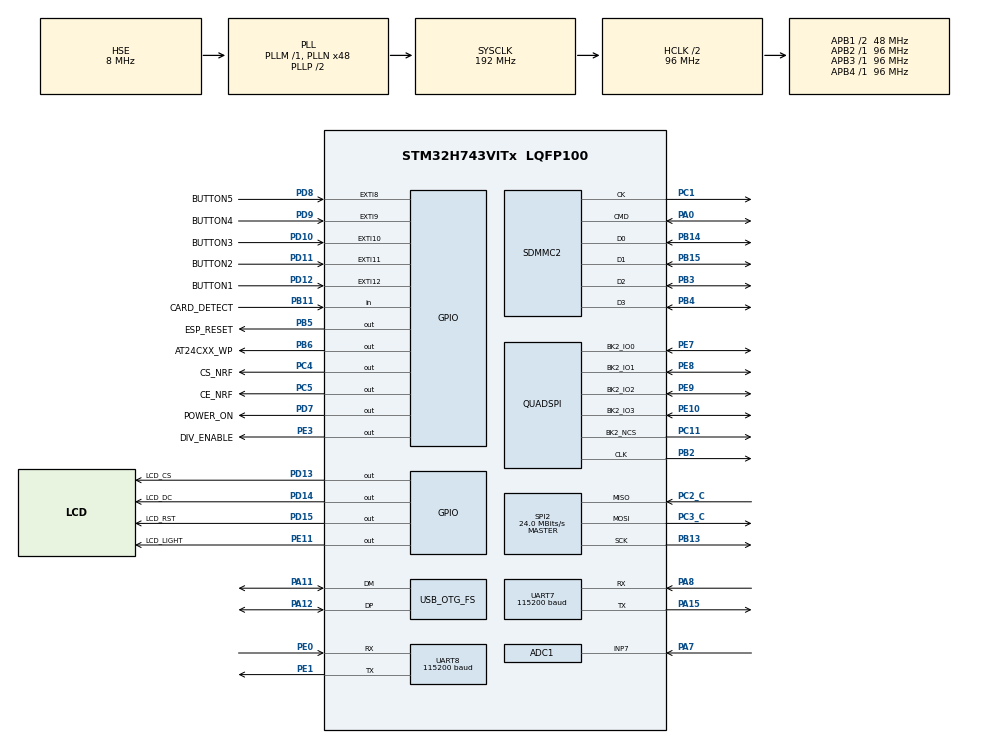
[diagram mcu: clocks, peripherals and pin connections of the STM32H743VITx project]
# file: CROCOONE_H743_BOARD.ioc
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ADC1.Channel-0\#ChannelRegularConversion=ADC_CHANNEL_7
ADC1.NbrOfConversionFlag=1
ADC1.OffsetNumber-0\#ChannelRegularConversion=ADC_OFFSET_NONE
ADC1.OffsetSignedSaturation-0\#ChannelRegularConversion=DISABLE
ADC1.Rank-0\#ChannelRegularConversion=1
ADC1.SamplingTime-0\#ChannelRegularConversion=ADC_SAMPLETIME_1CYCLE_5
ADC1.master=1
Dma.Request0=UART8_RX
Dma.UART8_RX.0.Direction=DMA_PERIPH_TO_MEMORY
Dma.UART8_RX.0.EventEnable=DISABLE
Dma.UART8_RX.0.FIFOMode=DMA_FIFOMODE_DISABLE
Dma.UART8_RX.0.Instance=DMA1_Stream0
Dma.UART8_RX.0.MemDataAlignment=DMA_MDATAALIGN_BYTE
Dma.UART8_RX.0.MemInc=DMA_MINC_ENABLE
Dma.UART8_RX.0.Mode=DMA_NORMAL
Dma.UART8_RX.0.PeriphDataAlignment=DMA_PDATAALIGN_BYTE
Dma.UART8_RX.0.PeriphInc=DMA_PINC_DISABLE
Dma.UART8_RX.0.Polarity=HAL_DMAMUX_REQ_GEN_RISING
Dma.UART8_RX.0.Priority=DMA_PRIORITY_LOW
Dma.UART8_RX.0.RequestNumber=1
Dma.UART8_RX.0.SignalID=NONE
Dma.UART8_RX.0.SyncEnable=DISABLE
Dma.UART8_RX.0.SyncPolarity=HAL_DMAMUX_SYNC_NO_EVENT
Dma.UART8_RX.0.SyncRequestNumber=1
Dma.UART8_RX.0.SyncSignalID=NONE
FATFS.BSP.number=1
FATFS._FS_EXFAT=1
FATFS._USE_LFN=2
FATFS._USE_MUTEX=0
FATFS0.BSP.STBoard=false
FATFS0.BSP.api=Unknown
FATFS0.BSP.instance=PB11
FATFS0.BSP.ip=GPIO
FATFS0.BSP.mode=Input
FATFS0.BSP.name=Detect_SDIO
FATFS0.BSP.solution=PB11
FREERTOS.Tasks01=defaultTask,24,1024,StartDefaultTask,Default,NULL,Dynamic,NULL,NULL
FREERTOS.configTOTAL_HEAP_SIZE=102400
FREERTOS.configUSE_NEWLIB_REENTRANT=1
Mcu.Family=STM32H7
Mcu.Name=STM32H743VITx
Mcu.Package=LQFP100
NVIC.DMA1_Stream0_IRQn=true\:5\:0\:false\:false\:true\:true\:false\:true\:true
NVIC.EXTI15_10_IRQn=true\:5\:0\:true\:false\:true\:true\:true\:true\:true
NVIC.EXTI9_5_IRQn=true\:5\:0\:true\:false\:true\:true\:true\:true\:true
NVIC.OTG_FS_IRQn=true\:5\:0\:false\:false\:true\:true\:false\:true\:true
NVIC.PriorityGroup=NVIC_PRIORITYGROUP_4
NVIC.QUADSPI_IRQn=true\:5\:0\:false\:false\:true\:true\:true\:true\:true
NVIC.SDMMC2_IRQn=true\:5\:0\:false\:false\:true\:true\:true\:true\:true
NVIC.SPI2_IRQn=true\:5\:0\:false\:false\:true\:true\:true\:true\:true
NVIC.TIM17_IRQn=true\:15\:0\:false\:false\:true\:false\:false\:true\:true
NVIC.TIM2_IRQn=true\:5\:0\:true\:false\:true\:true\:true\:true\:true
NVIC.TimeBase=TIM17_IRQn
NVIC.TimeBaseIP=TIM17
NVIC.UART7_IRQn=true\:5\:0\:true\:false\:true\:true\:true\:true\:true
NVIC.UART8_IRQn=true\:5\:0\:true\:false\:true\:true\:true\:true\:true
PA0.GPIO_Speed_High_Default=GPIO_SPEED_FREQ_VERY_HIGH
PA0.Mode=SD_4_bits_Wide_bus
PA0.Signal=SDMMC2_CMD
PA11.Mode=Device_Only
PA11.Signal=USB_OTG_FS_DM
PA12.Mode=Device_Only
PA12.Signal=USB_OTG_FS_DP
PA13\ (JTMS/SWDIO).Mode=Serial_Wire
PA13\ (JTMS/SWDIO).Signal=DEBUG_JTMS-SWDIO
PA14\ (JTCK/SWCLK).Mode=Serial_Wire
PA14\ (JTCK/SWCLK).Signal=DEBUG_JTCK-SWCLK
PA15\ (JTDI).Mode=Asynchronous
PA15\ (JTDI).Signal=UART7_TX
PA7.Signal=ADCx_INP7
PA8.Mode=Asynchronous
PA8.Signal=UART7_RX
PB11.GPIO_Label=CARD_DETECT
PB11.GPIO_PuPd=GPIO_PULLUP
PB11.Signal=GPIO_Input
PB13.Mode=Full_Duplex_Master
PB13.Signal=SPI2_SCK
PB14.GPIO_Speed_High_Default=GPIO_SPEED_FREQ_VERY_HIGH
PB14.Mode=SD_4_bits_Wide_bus
PB14.Signal=SDMMC2_D0
PB15.GPIO_Speed_High_Default=GPIO_SPEED_FREQ_VERY_HIGH
PB15.Mode=SD_4_bits_Wide_bus
PB15.Signal=SDMMC2_D1
PB2.GPIO_Speed=GPIO_SPEED_FREQ_VERY_HIGH
PB2.Mode=Single Bank 2
PB2.Signal=QUADSPI_CLK
PB3\ (JTDO/TRACESWO).GPIO_Speed_High_Default=GPIO_SPEED_FREQ_VERY_HIGH
PB3\ (JTDO/TRACESWO).Mode=SD_4_bits_Wide_bus
PB3\ (JTDO/TRACESWO).Signal=SDMMC2_D2
PB4\ (NJTRST).GPIO_Speed_High_Default=GPIO_SPEED_FREQ_VERY_HIGH
PB4\ (NJTRST).Mode=SD_4_bits_Wide_bus
PB4\ (NJTRST).Signal=SDMMC2_D3
PB5.GPIO_Label=ESP_RESET
PB5.Signal=GPIO_Output
PB6.GPIO_Label=AT24CXX_WP
PB6.GPIO_PuPd=GPIO_PULLUP
PB6.PinState=GPIO_PIN_SET
PB6.Signal=GPIO_Output
PC1.GPIO_Speed_High_Default=GPIO_SPEED_FREQ_VERY_HIGH
PC1.Mode=SD_4_bits_Wide_bus
PC1.Signal=SDMMC2_CK
PC11.GPIO_Speed=GPIO_SPEED_FREQ_VERY_HIGH
PC11.Mode=Single Bank 2
PC11.Signal=QUADSPI_BK2_NCS
PC2_C.Mode=Full_Duplex_Master
PC2_C.Signal=SPI2_MISO
PC3_C.Mode=Full_Duplex_Master
PC3_C.Signal=SPI2_MOSI
PC4.GPIO_Label=CS_NRF
PC4.Signal=GPIO_Output
PC5.GPIO_Label=CE_NRF
PC5.Signal=GPIO_Output
PD10.GPIO_Label=BUTTON3
PD10.GPIO_ModeDefaultEXTI=GPIO_MODE_IT_FALLING
PD10.GPIO_PuPd=GPIO_PULLUP
PD10.Signal=GPXTI10
PD11.GPIO_Label=BUTTON2
PD11.GPIO_ModeDefaultEXTI=GPIO_MODE_IT_FALLING
PD11.GPIO_PuPd=GPIO_PULLUP
PD11.Signal=GPXTI11
PD12.GPIO_Label=BUTTON1
PD12.GPIO_ModeDefaultEXTI=GPIO_MODE_IT_FALLING
PD12.GPIO_PuPd=GPIO_PULLUP
PD12.Signal=GPXTI12
PD13.GPIO_Label=LCD_CS
PD13.Signal=GPIO_Output
PD14.GPIO_Label=LCD_DC
PD14.Signal=GPIO_Output
PD15.GPIO_Label=LCD_RST
PD15.Signal=GPIO_Output
PD7.GPIO_Label=POWER_ON
PD7.Signal=GPIO_Output
PD8.GPIO_Label=BUTTON5
PD8.GPIO_ModeDefaultEXTI=GPIO_MODE_IT_FALLING
PD8.GPIO_PuPd=GPIO_PULLUP
PD8.Signal=GPXTI8
PD9.GPIO_Label=BUTTON4
PD9.GPIO_ModeDefaultEXTI=GPIO_MODE_IT_FALLING
PD9.GPIO_PuPd=GPIO_PULLUP
PD9.Signal=GPXTI9
PE0.Mode=Asynchronous
PE0.Signal=UART8_RX
PE1.Mode=Asynchronous
PE1.Signal=UART8_TX
PE10.GPIO_Speed=GPIO_SPEED_FREQ_VERY_HIGH
PE10.Mode=Single Bank 2
PE10.Signal=QUADSPI_BK2_IO3
PE11.GPIO_Label=LCD_LIGHT
PE11.Signal=GPIO_Output
PE3.GPIO_Label=DIV_ENABLE
PE3.GPIO_PuPd=GPIO_PULLUP
PE3.PinState=GPIO_PIN_SET
PE3.Signal=GPIO_Output
PE7.GPIO_Speed=GPIO_SPEED_FREQ_VERY_HIGH
PE7.Mode=Single Bank 2
PE7.Signal=QUADSPI_BK2_IO0
PE8.GPIO_Speed=GPIO_SPEED_FREQ_VERY_HIGH
PE8.Mode=Single Bank 2
PE8.Signal=QUADSPI_BK2_IO1
PE9.GPIO_Speed=GPIO_SPEED_FREQ_VERY_HIGH
PE9.Mode=Single Bank 2
PE9.Signal=QUADSPI_BK2_IO2
PH0-OSC_IN\ (PH0).Mode=HSE-External-Oscillator
PH0-OSC_IN\ (PH0).Signal=RCC_OSC_IN
PH1-OSC_OUT\ (PH1).Mode=HSE-External-Oscillator
PH1-OSC_OUT\ (PH1).Signal=RCC_OSC_OUT
ProjectManager.HeapSize=0x400
ProjectManager.StackSize=0x800
ProjectManager.TargetToolchain=STM32CubeIDE
QUADSPI.ChipSelectHighTime=QSPI_CS_HIGH_TIME_6_CYCLE
QUADSPI.ClockPrescaler=3
QUADSPI.FifoThreshold=4
QUADSPI.FlashSize=23
QUADSPI.SampleShifting=QSPI_SAMPLE_SHIFTING_HALFCYCLE
RCC.ADCFreq_Value=12000000
RCC.APB1Freq_Value=48000000
RCC.APB2Freq_Value=96000000
RCC.APB3Freq_Value=96000000
RCC.APB4Freq_Value=96000000
RCC.CortexFreq_Value=192000000
RCC.D2PPRE1=RCC_APB1_DIV2
RCC.DIVM1=1
RCC.DIVM2=4
RCC.DIVM3=4
RCC.DIVN1=48
RCC.DIVN2=96
RCC.DIVN3=96
RCC.DIVP2=16
RCC.DIVP3=4
RCC.DIVQ1=4
RCC.DIVQ3=4
RCC.DIVR3=4
RCC.FLatency-AdvancedSettings=FLASH_LATENCY_0
RCC.HCLKFreq_Value=96000000
RCC.HPRE=RCC_HCLK_DIV2
RCC.HSE_VALUE=8000000
RCC.PLLFRACN=0
RCC.PLLSourceVirtual=RCC_PLLSOURCE_HSE
RCC.SYSCLKFreq_VALUE=192000000
RCC.SYSCLKSource=RCC_SYSCLKSOURCE_PLLCLK
RCC.USBCLockSelection=RCC_USBCLKSOURCE_PLL3
RCC.USBFreq_Value=48000000
SDMMC2.ClockDiv=2
SH.ADCx_INP7.0=ADC1_INP7,IN7-Single-Ended
SPI2.BaudRatePrescaler=SPI_BAUDRATEPRESCALER_4
SPI2.CalculateBaudRate=24.0 MBits/s
SPI2.DataSize=SPI_DATASIZE_8BIT
SPI2.Direction=SPI_DIRECTION_2LINES
SPI2.Mode=SPI_MODE_MASTER
SPI2.VirtualType=VM_MASTER
TIM1.Prescaler=96-1
TIM2.Period=10000
TIM2.Prescaler=960-1
UART7.BaudRate=115200
UART8.BaudRate=115200
USB_DEVICE.CLASS_NAME_FS=HID
USB_DEVICE.VirtualMode-HID_FS=Hid
USB_DEVICE.VirtualModeFS=Hid_FS
USB_OTG_FS.VirtualMode=Device_Only
VP_FATFS_VS_SDIO.Mode=SDIO
VP_FREERTOS_VS_CMSIS_V2.Mode=CMSIS_V2
VP_SYS_VS_tim17.Mode=TIM17
VP_TIM1_VS_ClockSourceINT.Mode=Internal
VP_TIM2_VS_ClockSourceINT.Mode=Internal
VP_USB_DEVICE_VS_USB_DEVICE_HID_FS.Mode=HID_FS
board=custom

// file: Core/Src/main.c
/* USER CODE BEGIN Header */
/**
  ******************************************************************************
  * @file           : main.c
  * @brief          : Main program body
  ******************************************************************************
  * @attention
  *
  * Copyright (c) 2024 STMicroelectronics.
  * All rights reserved.
  *
  * This software is licensed under terms that can be found in the LICENSE file
  * in the root directory of this software component.
  * If no LICENSE file comes with this software, it is provided AS-IS.
  *
  ******************************************************************************
  */
/* USER CODE END Header */
#include "main.h"
#include "cmsis_os.h"
#include "fatfs.h"
#include "usb_device.h"

/* USER CODE BEGIN Includes */
#include <stdbool.h>
#include <string.h>

#include "semphr.h"

#include "SETTINGS.h"
#include "GFX_FUNCTIONS.h"
#include "title.h"
#include "button.h"
#include "flash_controller.h"
#include "uart_controller.h"
#include "packet_monitor.h"
#include "ch_analyzer.h"
#include "PMKID_attack.h"
#include "wifi_scan.h"
#include "deauth_attack.h"
#include "beacon_attack.h"
#include "handshake_attack.h"
#include "bad_usb_attack.h"
/* USER CODE END Includes */

/* USER CODE BEGIN PTD */
static const char *MAIN_MENU_SETS[] = {
	"Wi-Fi scan",
	"Ch Analyzer",
	"Pkt Analyzer",
	"PMKID attack",
	"deauth",
	"beacon",
	"handshake",
	"bad usb"
};
#define MAX_MAIN_MENU_SET_COUNT (sizeof(MAIN_MENU_SETS) / sizeof(char *))

SemaphoreHandle_t SPI2_mutex;
/* USER CODE END PTD */

ADC_HandleTypeDef hadc1;

QSPI_HandleTypeDef hqspi;

SD_HandleTypeDef hsd2;

SPI_HandleTypeDef hspi2;

TIM_HandleTypeDef htim1;
TIM_HandleTypeDef htim2;

UART_HandleTypeDef huart7;
UART_HandleTypeDef huart8;
DMA_HandleTypeDef hdma_uart8_rx;

/* Definitions for defaultTask */
osThreadId_t defaultTaskHandle;
const osThreadAttr_t defaultTask_attributes = {
  .name = "defaultTask",
  .stack_size = 1024 * 4,
  .priority = (osPriority_t) osPriorityNormal,
};

void SystemClock_Config(void);
static void MX_GPIO_Init(void);
static void MX_DMA_Init(void);
static void MX_SDMMC2_SD_Init(void);
static void MX_SPI2_Init(void);
static void MX_UART7_Init(void);
static void MX_UART8_Init(void);
static void MX_TIM1_Init(void);
static void MX_TIM2_Init(void);
static void MX_ADC1_Init(void);
static void MX_QUADSPI_Init(void);
void StartDefaultTask(void *argument);

int main(void)
{

  /* MCU Configuration--------------------------------------------------------*/

  /* Reset of all peripherals, Initializes the Flash interface and the Systick. */
  HAL_Init();

  /* Configure the system clock */
  SystemClock_Config();

  /* Initialize all configured peripherals */
  MX_GPIO_Init();
  MX_DMA_Init();
  MX_SDMMC2_SD_Init();
  MX_SPI2_Init();
  MX_UART7_Init();
  MX_UART8_Init();
  MX_TIM1_Init();
  MX_TIM2_Init();
  MX_ADC1_Init();
  MX_FATFS_Init();
  MX_QUADSPI_Init();
  /* USER CODE BEGIN 2 */
  HAL_GPIO_WritePin(POWER_ON_GPIO_Port, POWER_ON_Pin, GPIO_PIN_SET); //power on
  HAL_Delay(50);

  HAL_GPIO_WritePin(LCD_LIGHT_GPIO_Port, LCD_LIGHT_Pin, GPIO_PIN_RESET);
  ST7735_Init(0);
  fillScreen(MAIN_BG_COLOR);
  HAL_GPIO_WritePin(ESP_RESET_GPIO_Port, ESP_RESET_Pin, GPIO_PIN_SET);
  HAL_Delay(100);
  HAL_GPIO_WritePin(ESP_RESET_GPIO_Port, ESP_RESET_Pin, GPIO_PIN_RESET);
  HAL_GPIO_WritePin(LCD_LIGHT_GPIO_Port, LCD_LIGHT_Pin, GPIO_PIN_SET);

  ButtonsInit(5);
  AddButton(BUTTON_UP, BUTTON4_GPIO_Port, BUTTON4_Pin);
  AddButton(BUTTON_RIGHT, BUTTON1_GPIO_Port, BUTTON1_Pin);
  AddButton(BUTTON_CONFIRM, BUTTON3_GPIO_Port, BUTTON3_Pin);
  AddButton(BUTTON_LEFT, BUTTON5_GPIO_Port, BUTTON5_Pin);
  AddButton(BUTTON_DOWN, BUTTON2_GPIO_Port, BUTTON2_Pin);
  HAL_TIM_Base_Start_IT(&htim2);

  flash_init();
  nrf_init();
  powerDown();
  /* USER CODE END 2 */

  /* Init scheduler */
  osKernelInitialize();

  /* USER CODE BEGIN RTOS_MUTEX */
  /* add mutexes, ... */
  SPI2_mutex = xSemaphoreCreateMutex();
  /* USER CODE END RTOS_MUTEX */

  /* Create the thread(s) */
  /* creation of defaultTask */
  defaultTaskHandle = osThreadNew(StartDefaultTask, NULL, &defaultTask_attributes);

  /* USER CODE BEGIN RTOS_THREADS */
  /* add threads, ... */
  start_title_updater(&SPI2_mutex);
  /* USER CODE END RTOS_THREADS */

  /* USER CODE BEGIN RTOS_EVENTS */
  /* add events, ... */
  UART_parser_init();
  /* USER CODE END RTOS_EVENTS */

  /* Start scheduler */
  osKernelStart();

  /* We should never get here as control is now taken by the scheduler */
  /* Infinite loop */
  /* USER CODE BEGIN WHILE */
  while (1)
  {
	  break;
    /* USER CODE END WHILE */

    /* USER CODE BEGIN 3 */
  }

  return 0;
  /* USER CODE END 3 */
}

void SystemClock_Config(void)
{
  RCC_OscInitTypeDef RCC_OscInitStruct = {0};
  RCC_ClkInitTypeDef RCC_ClkInitStruct = {0};

  /** Supply configuration update enable
  */
  HAL_PWREx_ConfigSupply(PWR_LDO_SUPPLY);

  /** Configure the main internal regulator output voltage
  */
  __HAL_PWR_VOLTAGESCALING_CONFIG(PWR_REGULATOR_VOLTAGE_SCALE3);

  while(!__HAL_PWR_GET_FLAG(PWR_FLAG_VOSRDY)) {}

  /** Initializes the RCC Oscillators according to the specified parameters
  * in the RCC_OscInitTypeDef structure.
  */
  RCC_OscInitStruct.OscillatorType = RCC_OSCILLATORTYPE_HSE;
  RCC_OscInitStruct.HSEState = RCC_HSE_ON;
  RCC_OscInitStruct.PLL.PLLState = RCC_PLL_ON;
  RCC_OscInitStruct.PLL.PLLSource = RCC_PLLSOURCE_HSE;
  RCC_OscInitStruct.PLL.PLLM = 1;
  RCC_OscInitStruct.PLL.PLLN = 48;
  RCC_OscInitStruct.PLL.PLLP = 2;
  RCC_OscInitStruct.PLL.PLLQ = 4;
  RCC_OscInitStruct.PLL.PLLR = 2;
  RCC_OscInitStruct.PLL.PLLRGE = RCC_PLL1VCIRANGE_3;
  RCC_OscInitStruct.PLL.PLLVCOSEL = RCC_PLL1VCOWIDE;
  RCC_OscInitStruct.PLL.PLLFRACN = 0;
  if (HAL_RCC_OscConfig(&RCC_OscInitStruct) != HAL_OK)
  {
    Error_Handler();
  }

  /** Initializes the CPU, AHB and APB buses clocks
  */
  RCC_ClkInitStruct.ClockType = RCC_CLOCKTYPE_HCLK|RCC_CLOCKTYPE_SYSCLK
                              |RCC_CLOCKTYPE_PCLK1|RCC_CLOCKTYPE_PCLK2
                              |RCC_CLOCKTYPE_D3PCLK1|RCC_CLOCKTYPE_D1PCLK1;
  RCC_ClkInitStruct.SYSCLKSource = RCC_SYSCLKSOURCE_PLLCLK;
  RCC_ClkInitStruct.SYSCLKDivider = RCC_SYSCLK_DIV1;
  RCC_ClkInitStruct.AHBCLKDivider = RCC_HCLK_DIV2;
  RCC_ClkInitStruct.APB3CLKDivider = RCC_APB3_DIV1;
  RCC_ClkInitStruct.APB1CLKDivider = RCC_APB1_DIV2;
  RCC_ClkInitStruct.APB2CLKDivider = RCC_APB2_DIV1;
  RCC_ClkInitStruct.APB4CLKDivider = RCC_APB4_DIV1;

  if (HAL_RCC_ClockConfig(&RCC_ClkInitStruct, FLASH_LATENCY_2) != HAL_OK)
  {
    Error_Handler();
  }
}

static void MX_ADC1_Init(void)
{

  ADC_MultiModeTypeDef multimode = {0};
  ADC_ChannelConfTypeDef sConfig = {0};

  /** Common config
  */
  hadc1.Instance = ADC1;
  hadc1.Init.ClockPrescaler = ADC_CLOCK_ASYNC_DIV1;
  hadc1.Init.Resolution = ADC_RESOLUTION_16B;
  hadc1.Init.ScanConvMode = ADC_SCAN_DISABLE;
  hadc1.Init.EOCSelection = ADC_EOC_SINGLE_CONV;
  hadc1.Init.LowPowerAutoWait = DISABLE;
  hadc1.Init.ContinuousConvMode = DISABLE;
  hadc1.Init.NbrOfConversion = 1;
  hadc1.Init.DiscontinuousConvMode = DISABLE;
  hadc1.Init.ExternalTrigConv = ADC_SOFTWARE_START;
  hadc1.Init.ExternalTrigConvEdge = ADC_EXTERNALTRIGCONVEDGE_NONE;
  hadc1.Init.ConversionDataManagement = ADC_CONVERSIONDATA_DR;
  hadc1.Init.Overrun = ADC_OVR_DATA_PRESERVED;
  hadc1.Init.LeftBitShift = ADC_LEFTBITSHIFT_NONE;
  hadc1.Init.OversamplingMode = DISABLE;
  if (HAL_ADC_Init(&hadc1) != HAL_OK)
  {
    Error_Handler();
  }

  /** Configure the ADC multi-mode
  */
  multimode.Mode = ADC_MODE_INDEPENDENT;
  if (HAL_ADCEx_MultiModeConfigChannel(&hadc1, &multimode) != HAL_OK)
  {
    Error_Handler();
  }

  /** Configure Regular Channel
  */
  sConfig.Channel = ADC_CHANNEL_7;
  sConfig.Rank = ADC_REGULAR_RANK_1;
  sConfig.SamplingTime = ADC_SAMPLETIME_1CYCLE_5;
  sConfig.SingleDiff = ADC_SINGLE_ENDED;
  sConfig.OffsetNumber = ADC_OFFSET_NONE;
  sConfig.Offset = 0;
  sConfig.OffsetSignedSaturation = DISABLE;
  if (HAL_ADC_ConfigChannel(&hadc1, &sConfig) != HAL_OK)
  {
    Error_Handler();
  }

}

static void MX_QUADSPI_Init(void)
{

  /* QUADSPI parameter configuration*/
  hqspi.Instance = QUADSPI;
  hqspi.Init.ClockPrescaler = 3;
  hqspi.Init.FifoThreshold = 4;
  hqspi.Init.SampleShifting = QSPI_SAMPLE_SHIFTING_HALFCYCLE;
  hqspi.Init.FlashSize = 23;
  hqspi.Init.ChipSelectHighTime = QSPI_CS_HIGH_TIME_6_CYCLE;
  hqspi.Init.ClockMode = QSPI_CLOCK_MODE_0;
  hqspi.Init.FlashID = QSPI_FLASH_ID_2;
  hqspi.Init.DualFlash = QSPI_DUALFLASH_DISABLE;
  if (HAL_QSPI_Init(&hqspi) != HAL_OK)
  {
    Error_Handler();
  }

}

static void MX_SDMMC2_SD_Init(void)
{

  hsd2.Instance = SDMMC2;
  hsd2.Init.ClockEdge = SDMMC_CLOCK_EDGE_RISING;
  hsd2.Init.ClockPowerSave = SDMMC_CLOCK_POWER_SAVE_DISABLE;
  hsd2.Init.BusWide = SDMMC_BUS_WIDE_4B;
  hsd2.Init.HardwareFlowControl = SDMMC_HARDWARE_FLOW_CONTROL_DISABLE;
  hsd2.Init.ClockDiv = 2;

}

static void MX_SPI2_Init(void)
{

  /* SPI2 parameter configuration*/
  hspi2.Instance = SPI2;
  hspi2.Init.Mode = SPI_MODE_MASTER;
  hspi2.Init.Direction = SPI_DIRECTION_2LINES;
  hspi2.Init.DataSize = SPI_DATASIZE_8BIT;
  hspi2.Init.CLKPolarity = SPI_POLARITY_LOW;
  hspi2.Init.CLKPhase = SPI_PHASE_1EDGE;
  hspi2.Init.NSS = SPI_NSS_SOFT;
  hspi2.Init.BaudRatePrescaler = SPI_BAUDRATEPRESCALER_4;
  hspi2.Init.FirstBit = SPI_FIRSTBIT_MSB;
  hspi2.Init.TIMode = SPI_TIMODE_DISABLE;
  hspi2.Init.CRCCalculation = SPI_CRCCALCULATION_DISABLE;
  hspi2.Init.CRCPolynomial = 0x0;
  hspi2.Init.NSSPMode = SPI_NSS_PULSE_ENABLE;
  hspi2.Init.NSSPolarity = SPI_NSS_POLARITY_LOW;
  hspi2.Init.FifoThreshold = SPI_FIFO_THRESHOLD_01DATA;
  hspi2.Init.TxCRCInitializationPattern = SPI_CRC_INITIALIZATION_ALL_ZERO_PATTERN;
  hspi2.Init.RxCRCInitializationPattern = SPI_CRC_INITIALIZATION_ALL_ZERO_PATTERN;
  hspi2.Init.MasterSSIdleness = SPI_MASTER_SS_IDLENESS_00CYCLE;
  hspi2.Init.MasterInterDataIdleness = SPI_MASTER_INTERDATA_IDLENESS_00CYCLE;
  hspi2.Init.MasterReceiverAutoSusp = SPI_MASTER_RX_AUTOSUSP_DISABLE;
  hspi2.Init.MasterKeepIOState = SPI_MASTER_KEEP_IO_STATE_DISABLE;
  hspi2.Init.IOSwap = SPI_IO_SWAP_DISABLE;
  if (HAL_SPI_Init(&hspi2) != HAL_OK)
  {
    Error_Handler();
  }

}

static void MX_TIM1_Init(void)
{

  TIM_ClockConfigTypeDef sClockSourceConfig = {0};
  TIM_MasterConfigTypeDef sMasterConfig = {0};

  htim1.Instance = TIM1;
  htim1.Init.Prescaler = 96-1;
  htim1.Init.CounterMode = TIM_COUNTERMODE_UP;
  htim1.Init.Period = 65535;
  htim1.Init.ClockDivision = TIM_CLOCKDIVISION_DIV1;
  htim1.Init.RepetitionCounter = 0;
  htim1.Init.AutoReloadPreload = TIM_AUTORELOAD_PRELOAD_DISABLE;
  if (HAL_TIM_Base_Init(&htim1) != HAL_OK)
  {
    Error_Handler();
  }
  sClockSourceConfig.ClockSource = TIM_CLOCKSOURCE_INTERNAL;
  if (HAL_TIM_ConfigClockSource(&htim1, &sClockSourceConfig) != HAL_OK)
  {
    Error_Handler();
  }
  sMasterConfig.MasterOutputTrigger = TIM_TRGO_RESET;
  sMasterConfig.MasterOutputTrigger2 = TIM_TRGO2_RESET;
  sMasterConfig.MasterSlaveMode = TIM_MASTERSLAVEMODE_DISABLE;
  if (HAL_TIMEx_MasterConfigSynchronization(&htim1, &sMasterConfig) != HAL_OK)
  {
    Error_Handler();
  }

}

static void MX_TIM2_Init(void)
{

  TIM_ClockConfigTypeDef sClockSourceConfig = {0};
  TIM_MasterConfigTypeDef sMasterConfig = {0};

  htim2.Instance = TIM2;
  htim2.Init.Prescaler = 960-1;
  htim2.Init.CounterMode = TIM_COUNTERMODE_UP;
  htim2.Init.Period = 10000;
  htim2.Init.ClockDivision = TIM_CLOCKDIVISION_DIV1;
  htim2.Init.AutoReloadPreload = TIM_AUTORELOAD_PRELOAD_DISABLE;
  if (HAL_TIM_Base_Init(&htim2) != HAL_OK)
  {
    Error_Handler();
  }
  sClockSourceConfig.ClockSource = TIM_CLOCKSOURCE_INTERNAL;
  if (HAL_TIM_ConfigClockSource(&htim2, &sClockSourceConfig) != HAL_OK)
  {
    Error_Handler();
  }
  sMasterConfig.MasterOutputTrigger = TIM_TRGO_RESET;
  sMasterConfig.MasterSlaveMode = TIM_MASTERSLAVEMODE_DISABLE;
  if (HAL_TIMEx_MasterConfigSynchronization(&htim2, &sMasterConfig) != HAL_OK)
  {
    Error_Handler();
  }

}

static void MX_UART7_Init(void)
{

  huart7.Instance = UART7;
  huart7.Init.BaudRate = 115200;
  huart7.Init.WordLength = UART_WORDLENGTH_8B;
  huart7.Init.StopBits = UART_STOPBITS_1;
  huart7.Init.Parity = UART_PARITY_NONE;
  huart7.Init.Mode = UART_MODE_TX_RX;
  huart7.Init.HwFlowCtl = UART_HWCONTROL_NONE;
  huart7.Init.OverSampling = UART_OVERSAMPLING_16;
  huart7.Init.OneBitSampling = UART_ONE_BIT_SAMPLE_DISABLE;
  huart7.Init.ClockPrescaler = UART_PRESCALER_DIV1;
  huart7.AdvancedInit.AdvFeatureInit = UART_ADVFEATURE_NO_INIT;
  if (HAL_UART_Init(&huart7) != HAL_OK)
  {
    Error_Handler();
  }
  if (HAL_UARTEx_SetTxFifoThreshold(&huart7, UART_TXFIFO_THRESHOLD_1_8) != HAL_OK)
  {
    Error_Handler();
  }
  if (HAL_UARTEx_SetRxFifoThreshold(&huart7, UART_RXFIFO_THRESHOLD_1_8) != HAL_OK)
  {
    Error_Handler();
  }
  if (HAL_UARTEx_DisableFifoMode(&huart7) != HAL_OK)
  {
    Error_Handler();
  }

}

static void MX_UART8_Init(void)
{

  huart8.Instance = UART8;
  huart8.Init.BaudRate = 115200;
  huart8.Init.WordLength = UART_WORDLENGTH_8B;
  huart8.Init.StopBits = UART_STOPBITS_1;
  huart8.Init.Parity = UART_PARITY_NONE;
  huart8.Init.Mode = UART_MODE_TX_RX;
  huart8.Init.HwFlowCtl = UART_HWCONTROL_NONE;
  huart8.Init.OverSampling = UART_OVERSAMPLING_16;
  huart8.Init.OneBitSampling = UART_ONE_BIT_SAMPLE_DISABLE;
  huart8.Init.ClockPrescaler = UART_PRESCALER_DIV1;
  huart8.AdvancedInit.AdvFeatureInit = UART_ADVFEATURE_NO_INIT;
  if (HAL_UART_Init(&huart8) != HAL_OK)
  {
    Error_Handler();
  }
  if (HAL_UARTEx_SetTxFifoThreshold(&huart8, UART_TXFIFO_THRESHOLD_1_8) != HAL_OK)
  {
    Error_Handler();
  }
  if (HAL_UARTEx_SetRxFifoThreshold(&huart8, UART_RXFIFO_THRESHOLD_1_8) != HAL_OK)
  {
    Error_Handler();
  }
  if (HAL_UARTEx_DisableFifoMode(&huart8) != HAL_OK)
  {
    Error_Handler();
  }

}

static void MX_DMA_Init(void)
{

  /* DMA controller clock enable */
  __HAL_RCC_DMA1_CLK_ENABLE();

  /* DMA interrupt init */
  /* DMA1_Stream0_IRQn interrupt configuration */
  HAL_NVIC_SetPriority(DMA1_Stream0_IRQn, 5, 0);
  HAL_NVIC_EnableIRQ(DMA1_Stream0_IRQn);

}

static void MX_GPIO_Init(void)
{
  GPIO_InitTypeDef GPIO_InitStruct = {0};

  /* GPIO Ports Clock Enable */
  __HAL_RCC_GPIOE_CLK_ENABLE();
  __HAL_RCC_GPIOH_CLK_ENABLE();
  __HAL_RCC_GPIOC_CLK_ENABLE();
  __HAL_RCC_GPIOA_CLK_ENABLE();
  __HAL_RCC_GPIOB_CLK_ENABLE();
  __HAL_RCC_GPIOD_CLK_ENABLE();

  /*Configure GPIO pin Output Level */
  HAL_GPIO_WritePin(DIV_ENABLE_GPIO_Port, DIV_ENABLE_Pin, GPIO_PIN_SET);

  /*Configure GPIO pin Output Level */
  HAL_GPIO_WritePin(GPIOC, CS_NRF_Pin|CE_NRF_Pin, GPIO_PIN_RESET);

  /*Configure GPIO pin Output Level */
  HAL_GPIO_WritePin(LCD_LIGHT_GPIO_Port, LCD_LIGHT_Pin, GPIO_PIN_RESET);

  /*Configure GPIO pin Output Level */
  HAL_GPIO_WritePin(GPIOD, LCD_CS_Pin|LCD_DC_Pin|LCD_RST_Pin|POWER_ON_Pin, GPIO_PIN_RESET);

  /*Configure GPIO pin Output Level */
  HAL_GPIO_WritePin(ESP_RESET_GPIO_Port, ESP_RESET_Pin, GPIO_PIN_RESET);

  /*Configure GPIO pin Output Level */
  HAL_GPIO_WritePin(AT24CXX_WP_GPIO_Port, AT24CXX_WP_Pin, GPIO_PIN_SET);

  /*Configure GPIO pin : DIV_ENABLE_Pin */
  GPIO_InitStruct.Pin = DIV_ENABLE_Pin;
  GPIO_InitStruct.Mode = GPIO_MODE_OUTPUT_PP;
  GPIO_InitStruct.Pull = GPIO_PULLUP;
  GPIO_InitStruct.Speed = GPIO_SPEED_FREQ_LOW;
  HAL_GPIO_Init(DIV_ENABLE_GPIO_Port, &GPIO_InitStruct);

  /*Configure GPIO pins : CS_NRF_Pin CE_NRF_Pin */
  GPIO_InitStruct.Pin = CS_NRF_Pin|CE_NRF_Pin;
  GPIO_InitStruct.Mode = GPIO_MODE_OUTPUT_PP;
  GPIO_InitStruct.Pull = GPIO_NOPULL;
  GPIO_InitStruct.Speed = GPIO_SPEED_FREQ_LOW;
  HAL_GPIO_Init(GPIOC, &GPIO_InitStruct);

  /*Configure GPIO pin : LCD_LIGHT_Pin */
  GPIO_InitStruct.Pin = LCD_LIGHT_Pin;
  GPIO_InitStruct.Mode = GPIO_MODE_OUTPUT_PP;
  GPIO_InitStruct.Pull = GPIO_NOPULL;
  GPIO_InitStruct.Speed = GPIO_SPEED_FREQ_LOW;
  HAL_GPIO_Init(LCD_LIGHT_GPIO_Port, &GPIO_InitStruct);

  /*Configure GPIO pin : CARD_DETECT_Pin */
  GPIO_InitStruct.Pin = CARD_DETECT_Pin;
  GPIO_InitStruct.Mode = GPIO_MODE_INPUT;
  GPIO_InitStruct.Pull = GPIO_PULLUP;
  HAL_GPIO_Init(CARD_DETECT_GPIO_Port, &GPIO_InitStruct);

  /*Configure GPIO pins : BUTTON5_Pin BUTTON4_Pin BUTTON3_Pin BUTTON2_Pin
                           BUTTON1_Pin */
  GPIO_InitStruct.Pin = BUTTON5_Pin|BUTTON4_Pin|BUTTON3_Pin|BUTTON2_Pin
                          |BUTTON1_Pin;
  GPIO_InitStruct.Mode = GPIO_MODE_IT_FALLING;
  GPIO_InitStruct.Pull = GPIO_PULLUP;
  HAL_GPIO_Init(GPIOD, &GPIO_InitStruct);

  /*Configure GPIO pins : LCD_CS_Pin LCD_DC_Pin LCD_RST_Pin POWER_ON_Pin */
  GPIO_InitStruct.Pin = LCD_CS_Pin|LCD_DC_Pin|LCD_RST_Pin|POWER_ON_Pin;
  GPIO_InitStruct.Mode = GPIO_MODE_OUTPUT_PP;
  GPIO_InitStruct.Pull = GPIO_NOPULL;
  GPIO_InitStruct.Speed = GPIO_SPEED_FREQ_LOW;
  HAL_GPIO_Init(GPIOD, &GPIO_InitStruct);

  /*Configure GPIO pin : ESP_RESET_Pin */
  GPIO_InitStruct.Pin = ESP_RESET_Pin;
  GPIO_InitStruct.Mode = GPIO_MODE_OUTPUT_PP;
  GPIO_InitStruct.Pull = GPIO_NOPULL;
  GPIO_InitStruct.Speed = GPIO_SPEED_FREQ_LOW;
  HAL_GPIO_Init(ESP_RESET_GPIO_Port, &GPIO_InitStruct);

  /*Configure GPIO pin : AT24CXX_WP_Pin */
  GPIO_InitStruct.Pin = AT24CXX_WP_Pin;
  GPIO_InitStruct.Mode = GPIO_MODE_OUTPUT_PP;
  GPIO_InitStruct.Pull = GPIO_PULLUP;
  GPIO_InitStruct.Speed = GPIO_SPEED_FREQ_LOW;
  HAL_GPIO_Init(AT24CXX_WP_GPIO_Port, &GPIO_InitStruct);

  /* EXTI interrupt init*/
  HAL_NVIC_SetPriority(EXTI9_5_IRQn, 5, 0);
  HAL_NVIC_EnableIRQ(EXTI9_5_IRQn);

  HAL_NVIC_SetPriority(EXTI15_10_IRQn, 5, 0);
  HAL_NVIC_EnableIRQ(EXTI15_10_IRQn);

}

/* USER CODE BEGIN 4 */
void draw_main_menu(int curr_set, bool button, bool full_refresh) {
	static const uint16_t YStart = TITLE_END_Y + 9;
	static uint8_t prev_curr_set = 0;
	static bool prev_button = false;

	if (full_refresh) {
		refresh_title();
		fillScreenExceptTitle();
	}

	if (full_refresh || prev_curr_set != curr_set || prev_button != button) {
		drawMenu(
				(char **)MAIN_MENU_SETS,
				MAX_MAIN_MENU_SET_COUNT,
				12, YStart + 20, 116, YStart + 108,
				button ? -1 : curr_set,
				Font_7x10,
				MAIN_TXT_COLOR, MAIN_BG_COLOR
		);

	}

	if (full_refresh || prev_button != button) {
		drawIcon("functions", !button, 4, YStart, 125, YStart + 110, Font_7x10, MAIN_TXT_COLOR, MAIN_BG_COLOR);
		darwMiddleButton("power off", YStart + 120, Font_7x10, button, MAIN_TXT_COLOR, MAIN_BG_COLOR);
	}

	prev_curr_set = curr_set;
	prev_button = button;
}
/* USER CODE END 4 */

void StartDefaultTask(void *argument)
{
  /* USER CODE BEGIN 5 */
  static int curr_set = 0;
  static bool screen_update = true;
  static eButtonEvent button_up, button_down, button_confirm;
  static bool button = false;
  /* Infinite loop */
  while (1) {
	xSemaphoreTake(SPI2_mutex, portMAX_DELAY);
	if (screen_update) update_title_text("main menu");
	draw_main_menu(curr_set, button, screen_update);
	screen_update = false;
	xSemaphoreGive(SPI2_mutex);

	button_up = GetButtonState(BUTTON_UP);
	button_down = GetButtonState(BUTTON_DOWN);
	button_confirm = GetButtonState(BUTTON_CONFIRM);

	if (button_down == SINGLE_CLICK || button_down == HOLD) {
		curr_set = (curr_set + 1) % (int)MAX_MAIN_MENU_SET_COUNT;
	}
	if (button_up == SINGLE_CLICK || button_up == HOLD) {
		curr_set = (curr_set - 1) % (int)MAX_MAIN_MENU_SET_COUNT;
		if (curr_set < 0) curr_set = (int)MAX_MAIN_MENU_SET_COUNT - 1;
	}
	if (button_down == DOUBLE_CLICK || button_up == DOUBLE_CLICK)
		button = !button;
	if (button_confirm == SINGLE_CLICK && button) {
		HAL_GPIO_WritePin(LCD_LIGHT_GPIO_Port, LCD_LIGHT_Pin, GPIO_PIN_RESET);
	  	HAL_GPIO_WritePin(POWER_ON_GPIO_Port, POWER_ON_Pin, GPIO_PIN_RESET); //power off
		break;
	}
	if (button_confirm == SINGLE_CLICK) {
		if (curr_set == 0)
			ESP32_scan_wifi((TaskHandle_t *)&defaultTaskHandle);
		else if (curr_set == 1)
			NRF24_ch_analyzer((TaskHandle_t *)&defaultTaskHandle);
		else if (curr_set == 2)
			ESP32_start_packet_monitor((TaskHandle_t *)&defaultTaskHandle);
		else if (curr_set == 3)
			ESP32_start_pmkid_attack((TaskHandle_t *)&defaultTaskHandle);
		else if (curr_set == 4)
			ESP32_start_deauth_attack((TaskHandle_t *)&defaultTaskHandle);
		else if (curr_set == 5)
			ESP32_start_beacon_attack((TaskHandle_t *)&defaultTaskHandle);
		else if (curr_set == 6)
			ESP32_start_handshake_attack((TaskHandle_t *)&defaultTaskHandle);
		else if (curr_set == 7)
			USB_attack_start((TaskHandle_t *)&defaultTaskHandle);

		vTaskSuspend(NULL);

		ClearAllButtons();
		screen_update = true;
	}
    osDelay(250);
  }
  vTaskDelete(NULL);
  /* USER CODE END 5 */
}

void HAL_TIM_PeriodElapsedCallback(TIM_HandleTypeDef *htim)
{
  if (htim->Instance == TIM17) {
    HAL_IncTick();
  }
  /* USER CODE BEGIN Callback 1 */
  if(htim->Instance == TIM2) {
	  button_update();
  }
  /* USER CODE END Callback 1 */
}

void Error_Handler(void)
{
  __disable_irq();
  while (1)
  {
  }
}
